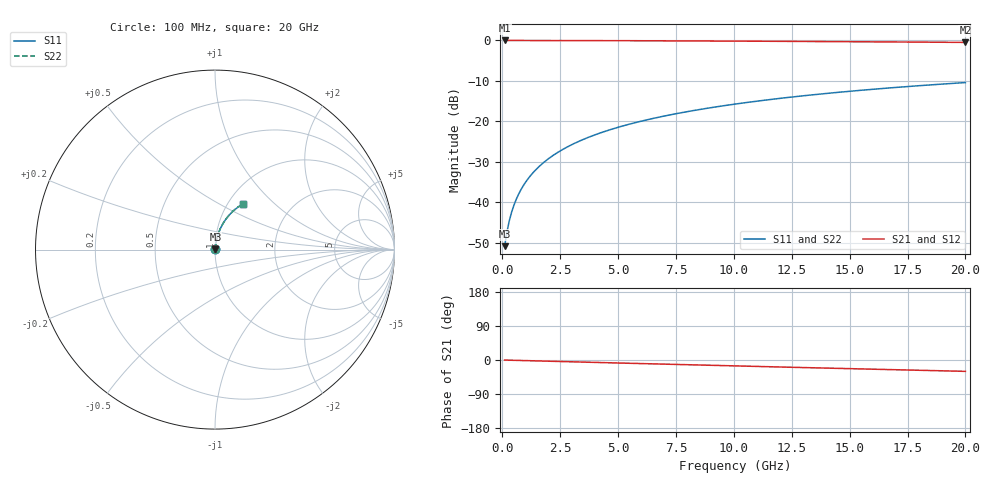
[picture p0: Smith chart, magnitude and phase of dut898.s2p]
! Touchstone file exported from HFSS 2026.1.0
!  File:  C:/ffzhzh/LocalFiles/Ansys_Project_Files/temp_train_BSMRDL_898_1783171355_43440.aedt
!  Generated:  09:23:54 PM Jul  4, 2026
!  Design:  BSMRDL
!  Project:  temp_train_BSMRDL_898_1783171355_43440
! Variables:
!  h_bsmrdl = 5.06um
!  h_ox = 20um
!  h_rdl = 5um
!  h_sub = 80um
!  h_tmrdl = 5um
!  h_tsv = 80um
!  h_via = 3um
!  l_bsmrdl = 420.02um
!  l_sub = 820.02um
!  l_tmrdl = 200um
!  m_sub = 200um
!  pitch = 38.38um
!  r_tsv = 6um
!  s_tmrdl = 10um
!  w_bsmrdl = 14.02um
!  w_sub = 500um
!  w_tmrdl = 12um
!  x_tsv_center1 = 206um
!  x_tsv_center2 = 640.04um
!  x_tsv_center3 = 852.04um
!  x_tsv_center4 = 1286.08um
!  x_tsv_center5 = 1498.08um
!  x_tsv_center6 = 1932.12um
# GHz S MA R 50.000000
! Terminal data exported
! Port[1] = BSM_RDL1_1_T1
! Port[2] = BSM_RDL1_1_T2
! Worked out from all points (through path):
!   200 points, 100 MHz to 20 GHz, reference 50 ohm
!   highest |S21| = -0.02 dB at 100 MHz (marker M1); lowest = -0.5 dB at 20 GHz (marker M2)
!   group delay of S21, straight-line fit = 4.16 ps
!   lowest |S11| = -50.9 dB at 100 MHz (marker M3), VSWR 1.01, Z = 50.2 + j0.183 ohm
!   |S11| at or under -10 dB: start of sweep to end of sweep
!   |S22| runs from -50.9 to -10.4 dB; largest |S21 - S12| = 2.2e-15
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0.1  0.002855 39.6  0.9978 -0.2  0.9978 -0.2  0.002855 39.6
! Gamma 0 0 0 0
! Port Impedance 50 0 50 0
0.2  0.004264 57.6  0.9977 -0.3  0.9977 -0.3  0.004264 57.6
0.3  0.005845 65.9  0.9976 -0.5  0.9976 -0.5  0.005845 65.9
0.4  0.007475 70.7  0.9976 -0.7  0.9976 -0.7  0.007475 70.7
0.5  0.009128 73.7  0.9975 -0.8  0.9975 -0.8  0.009128 73.7
0.6  0.0108 75.7  0.9975 -1.0  0.9975 -1.0  0.0108 75.7
0.8  0.01416 78.3  0.9974 -1.3  0.9974 -1.3  0.01416 78.3
1.1  0.01925 80.3  0.9972 -1.8  0.9972 -1.8  0.01925 80.3
1.5  0.02605 81.4  0.9969 -2.4  0.9969 -2.4  0.02605 81.4
1.8  0.03115 81.7  0.9966 -2.9  0.9966 -2.9  0.03115 81.7
2.1  0.03623 81.8  0.9963 -3.4  0.9963 -3.4  0.03623 81.8
2.7  0.04634 81.5  0.9955 -4.3  0.9955 -4.3  0.04634 81.5
3.5  0.05968 80.7  0.9944 -5.6  0.9944 -5.6  0.05967 80.7
4.2  0.0712 79.9  0.9932 -6.7  0.9932 -6.7  0.0712 79.9
5  0.08423 78.8  0.9917 -7.9  0.9917 -7.9  0.08423 78.8
5.9  0.09869 77.6  0.9898 -9.3  0.9898 -9.3  0.09869 77.6
6.8  0.113 76.4  0.9878 -10.7  0.9878 -10.7  0.113 76.4
8.3  0.1364 74.3  0.9842 -13.0  0.9842 -13.0  0.1364 74.3
10.1  0.1638 71.8  0.9793 -15.7  0.9793 -15.7  0.1638 71.8
13.4  0.2123 67.2  0.969 -20.5  0.969 -20.5  0.2123 67.3
16.7  0.2581 62.7  0.9572 -25.3  0.9572 -25.3  0.2581 62.7
20  0.3008 58.2  0.9441 -30.0  0.9441 -30.0  0.3008 58.2
